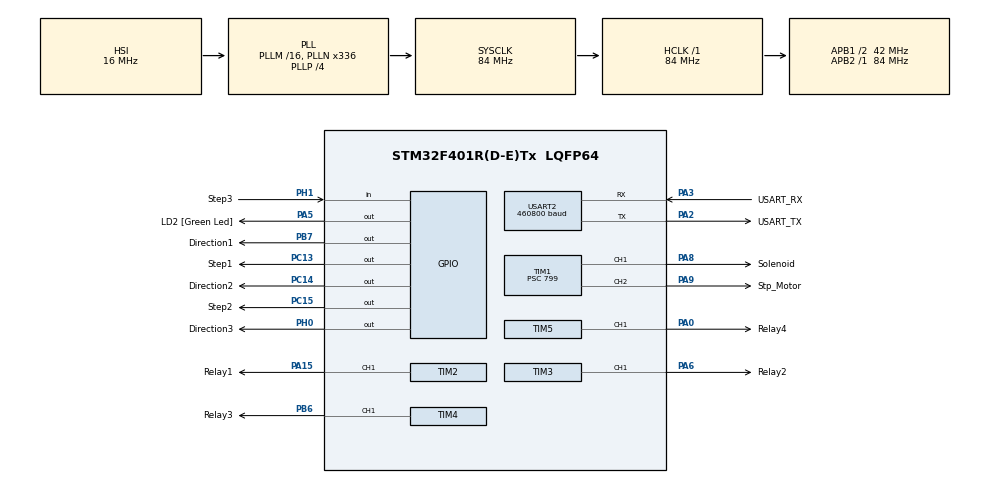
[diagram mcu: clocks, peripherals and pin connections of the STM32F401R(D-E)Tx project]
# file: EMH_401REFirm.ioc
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Mcu.Family=STM32F4
Mcu.Name=STM32F401R(D-E)Tx
Mcu.Package=LQFP64
NVIC.PriorityGroup=NVIC_PRIORITYGROUP_0
NVIC.TIM1_BRK_TIM9_IRQn=true\:0\:0\:false\:false\:true\:true\:true\:true
NVIC.TIM1_TRG_COM_TIM11_IRQn=true\:0\:0\:false\:false\:true\:true\:true\:true
NVIC.TIM1_UP_TIM10_IRQn=true\:0\:0\:false\:false\:true\:true\:true\:true
NVIC.USART2_IRQn=true\:0\:0\:false\:false\:true\:true\:true\:true
PA0-WKUP.GPIO_Label=Relay4
PA0-WKUP.Signal=S_TIM5_CH1
PA13.GPIO_Label=TMS
PA13.Mode=Serial_Wire
PA13.Signal=SYS_JTMS-SWDIO
PA14.GPIO_Label=TCK
PA14.Mode=Serial_Wire
PA14.Signal=SYS_JTCK-SWCLK
PA15.GPIO_Label=Relay1
PA15.Signal=S_TIM2_CH1_ETR
PA2.GPIO_Label=USART_TX
PA2.GPIO_Mode=GPIO_MODE_AF_PP
PA2.GPIO_PuPd=GPIO_NOPULL
PA2.GPIO_Speed=GPIO_SPEED_FREQ_LOW
PA2.Mode=Asynchronous
PA2.Signal=USART2_TX
PA3.GPIO_Label=USART_RX
PA3.GPIO_Mode=GPIO_MODE_AF_PP
PA3.GPIO_PuPd=GPIO_NOPULL
PA3.GPIO_Speed=GPIO_SPEED_FREQ_LOW
PA3.Mode=Asynchronous
PA3.Signal=USART2_RX
PA5.GPIO_Label=LD2 [Green Led]
PA5.GPIO_Mode=GPIO_MODE_OUTPUT_PP
PA5.GPIO_PuPd=GPIO_NOPULL
PA5.GPIO_Speed=GPIO_SPEED_FREQ_LOW
PA5.Signal=GPIO_Output
PA6.GPIO_Label=Relay2
PA6.Signal=S_TIM3_CH1
PA8.GPIO_Label=Solenoid
PA8.Signal=S_TIM1_CH1
PA9.GPIO_Label=Stp_Motor
PA9.Signal=S_TIM1_CH2
PB3.GPIO_Label=SWO
PB3.Signal=SYS_JTDO-SWO
PB6.GPIO_Label=Relay3
PB6.Signal=S_TIM4_CH1
PB7.GPIO_Label=Direction1
PB7.Signal=GPIO_Output
PC13-ANTI_TAMP.GPIO_Label=Step1
PC13-ANTI_TAMP.Signal=GPIO_Output
PC14-OSC32_IN.GPIO_Label=Direction2
PC14-OSC32_IN.Signal=GPIO_Output
PC15-OSC32_OUT.GPIO_Label=Step2
PC15-OSC32_OUT.Signal=GPIO_Output
PH0\ -\ OSC_IN.GPIO_Label=Direction3
PH0\ -\ OSC_IN.Signal=GPIO_Output
PH1\ -\ OSC_OUT.GPIO_Label=Step3
PH1\ -\ OSC_OUT.Signal=GPIO_Input
ProjectManager.HeapSize=0x200
ProjectManager.StackSize=0x400
ProjectManager.TargetToolchain=STM32CubeIDE
RCC.48MHZClocksFreq_Value=48000000
RCC.AHBFreq_Value=84000000
RCC.APB1CLKDivider=RCC_HCLK_DIV2
RCC.APB1Freq_Value=42000000
RCC.APB1TimFreq_Value=84000000
RCC.APB2Freq_Value=84000000
RCC.APB2TimFreq_Value=84000000
RCC.CortexFreq_Value=84000000
RCC.HCLKFreq_Value=84000000
RCC.HSE_VALUE=8000000
RCC.HSI_VALUE=16000000
RCC.LSE_VALUE=32768
RCC.PLLN=336
RCC.PLLP=RCC_PLLP_DIV4
RCC.PLLQ=7
RCC.SYSCLKFreq_VALUE=84000000
RCC.SYSCLKSource=RCC_SYSCLKSOURCE_PLLCLK
RCC.VCOOutputFreq_Value=336000000
SH.S_TIM1_CH1.0=TIM1_CH1,PWM Generation1 CH1
SH.S_TIM1_CH2.0=TIM1_CH2,PWM Generation2 CH2
SH.S_TIM2_CH1_ETR.0=TIM2_CH1,PWM Generation1 CH1
SH.S_TIM3_CH1.0=TIM3_CH1,PWM Generation1 CH1
SH.S_TIM4_CH1.0=TIM4_CH1,PWM Generation1 CH1
SH.S_TIM5_CH1.0=TIM5_CH1,PWM Generation1 CH1
TIM1.AutoReloadPreload=TIM_AUTORELOAD_PRELOAD_ENABLE
TIM1.Channel-PWM\ Generation1\ CH1=TIM_CHANNEL_1
TIM1.Channel-PWM\ Generation2\ CH2=TIM_CHANNEL_2
TIM1.Channel-PWM\ Generation3\ CH3=TIM_CHANNEL_3
TIM1.Channel-PWM\ Generation4\ CH4=TIM_CHANNEL_4
TIM1.Period=99
TIM1.Prescaler=799
TIM10.Period=99
TIM10.Prescaler=799
TIM11.AutoReloadPreload=TIM_AUTORELOAD_PRELOAD_ENABLE
TIM11.Period=99
TIM11.Prescaler=799
TIM2.AutoReloadPreload=TIM_AUTORELOAD_PRELOAD_ENABLE
TIM2.Channel-PWM\ Generation1\ CH1=TIM_CHANNEL_1
TIM2.Period=99
TIM2.Prescaler=799
TIM3.AutoReloadPreload=TIM_AUTORELOAD_PRELOAD_ENABLE
TIM3.Channel-PWM\ Generation1\ CH1=TIM_CHANNEL_1
TIM3.Period=99
TIM3.Prescaler=799
TIM4.AutoReloadPreload=TIM_AUTORELOAD_PRELOAD_ENABLE
TIM4.Channel-PWM\ Generation1\ CH1=TIM_CHANNEL_1
TIM4.Period=99
TIM4.Prescaler=799
TIM5.AutoReloadPreload=TIM_AUTORELOAD_PRELOAD_ENABLE
TIM5.Channel-PWM\ Generation1\ CH1=TIM_CHANNEL_1
TIM5.Period=99
TIM5.Prescaler=799
TIM9.AutoReloadPreload=TIM_AUTORELOAD_PRELOAD_ENABLE
TIM9.Period=99
TIM9.Prescaler=799
USART2.BaudRate=460800
USART2.VirtualMode=VM_ASYNC
VP_TIM10_VS_ClockSourceINT.Mode=Enable_Timer
VP_TIM11_VS_ClockSourceINT.Mode=Enable_Timer
VP_TIM1_VS_ClockSourceINT.Mode=Internal
VP_TIM2_VS_ClockSourceINT.Mode=Internal
VP_TIM3_VS_ClockSourceINT.Mode=Internal
VP_TIM4_VS_ClockSourceINT.Mode=Internal
VP_TIM5_VS_ClockSourceINT.Mode=Internal
VP_TIM9_VS_ClockSourceINT.Mode=Internal
board=NUCLEO-F401RE

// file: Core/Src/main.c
/* USER CODE BEGIN Header */
/**
  ******************************************************************************
  * @file           : main.c
  * @brief          : Main program body
  ******************************************************************************
  * @attention
  *
  * <h2><center>&copy; Copyright (c) 2023 STMicroelectronics.
  * All rights reserved.</center></h2>
  *
  * This software component is licensed by ST under BSD 3-Clause license,
  * the "License"; You may not use this file except in compliance with the
  * License. You may obtain a copy of the License at:
  *                        opensource.org/licenses/BSD-3-Clause
  *
  ******************************************************************************
  */
/* USER CODE END Header */
#include "main.h"

/* USER CODE BEGIN Includes */
#include <math.h>
#include <stdlib.h>
/* USER CODE END Includes */

/* USER CODE BEGIN PD */
#define TimerNum 8
#define FloppyNum 6
/* USER CODE END PD */

TIM_HandleTypeDef htim1;
TIM_HandleTypeDef htim2;
TIM_HandleTypeDef htim3;
TIM_HandleTypeDef htim4;
TIM_HandleTypeDef htim5;
TIM_HandleTypeDef htim9;
TIM_HandleTypeDef htim10;
TIM_HandleTypeDef htim11;

UART_HandleTypeDef huart2;

/* USER CODE BEGIN PV */
GPIO_PinState currentState = GPIO_PIN_RESET;
uint8_t currentPosition = 0;
uint8_t isTimer1Counting = 0;

char dataLength[8];
char data[255];
char length[10];
uint8_t uartCnt = 0;
uint64_t dataLen;
uint16_t notes[10] = {0};
uint16_t freqs[10] = {0};
double tmp[10] = {0};

const double timer_clock = 84e6;
const uint8_t timerPeriod = 100;

uint8_t arrayLen = 0;
GPIO_TypeDef* floppyPort[FloppyNum] = {};
uint32_t floppyPin[FloppyNum] = {};
TIM_HandleTypeDef times[TimerNum] = {};
/* USER CODE END PV */

void SystemClock_Config(void);
static void MX_GPIO_Init(void);
static void MX_USART2_UART_Init(void);
static void MX_TIM1_Init(void);
static void MX_TIM2_Init(void);
static void MX_TIM3_Init(void);
static void MX_TIM4_Init(void);
static void MX_TIM5_Init(void);
static void MX_TIM9_Init(void);
static void MX_TIM10_Init(void);
static void MX_TIM11_Init(void);

/* USER CODE BEGIN 0 */

//reset position of floppy
void resetStep(){
	for(uint8_t i = 0; i < FloppyNum; i+=2){
		//i : Direction, i+1 : Step
		LL_GPIO_SetOutputPin(floppyPort[i], floppyPin[i]);
		for(uint8_t j = 0; j < 79; j++){
			LL_GPIO_SetOutputPin(floppyPort[i+1], floppyPin[i+1]);
			LL_GPIO_ResetOutputPin(floppyPort[i+1], floppyPin[i+1]);
		}
		currentPosition = 0;
		LL_GPIO_ResetOutputPin(floppyPort[i], floppyPin[i]);
	}
}

//Timer interrupt (floppy control only)
void HAL_TIM_PeriodElapsedCallback(TIM_HandleTypeDef *htim)
{
	uint8_t timerIdx = 0;
	for(; timerIdx < TimerNum; timerIdx++){
		if(htim == &times[timerIdx])
			break;
	}
	if(timerIdx >= 5){
		//Update position
		//timer : 5 --> floppy : 0, 1
		//timer : 6 --> floppy : 2, 3
		//timer : 7 --> floppy : 4, 5
		if(currentState == GPIO_PIN_SET){
			if(--currentPosition <= 0){
				currentState = GPIO_PIN_RESET;
				LL_GPIO_ResetOutputPin(floppyPort[(timerIdx - 5) * 2], floppyPin[(timerIdx - 5) * 2]);
			}
		}else if(++currentPosition >= 158){
			currentState = GPIO_PIN_SET;
			LL_GPIO_SetOutputPin(floppyPort[(timerIdx - 5) * 2], floppyPin[(timerIdx - 5) * 2]);
		}
		LL_GPIO_TogglePin(floppyPort[(timerIdx - 5) * 2 + 1], floppyPin[(timerIdx - 5) * 2 + 1]);
	}
}

//Set frequency of Timer
void setTimer(uint8_t part, TIM_HandleTypeDef htim, uint32_t prescaler){

  if(prescaler < 0) prescaler = 799;

  htim.Instance = htim.Instance;
  htim.Init.Prescaler = prescaler;
  htim.Init.CounterMode = TIM_COUNTERMODE_UP;
  htim.Init.Period = timerPeriod - 1;	//because of start with 0
  htim.Init.ClockDivision = TIM_CLOCKDIVISION_DIV1;

	if(part < 5){
		TIM_OC_InitTypeDef sConfigOC = {0};	//pwm setting only
	  HAL_TIM_PWM_Init(&htim);

	  sConfigOC.OCMode = TIM_OCMODE_PWM1;
	  sConfigOC.Pulse = 50;
	  //set duty
	  sConfigOC.OCPolarity = TIM_OCPOLARITY_HIGH;
	  sConfigOC.OCFastMode = TIM_OCFAST_DISABLE;
	  sConfigOC.OCIdleState = TIM_OCIDLESTATE_RESET;
	  sConfigOC.OCNIdleState = TIM_OCNIDLESTATE_RESET;
	  HAL_TIM_PWM_ConfigChannel(&htim, &sConfigOC, TIM_CHANNEL_1);
	  HAL_TIM_PWM_ConfigChannel(&htim, &sConfigOC, TIM_CHANNEL_2);

	  //start
	  HAL_TIM_PWM_Start(&htim, TIM_CHANNEL_1);
	  HAL_TIM_PWM_Start(&htim, TIM_CHANNEL_2);	//stp_motor only

	}else{
	  HAL_TIM_Base_Init(&htim);
	  // start
	  HAL_TIM_Base_Start_IT(&htim);
	}

}

//Convert note number to frequency
float NoteConvert(uint16_t noteNum){
	int64_t tmp = noteNum - 69;
	double exp = (double)tmp / 12.0;
	double freq = 440 * pow(2.0, exp);
	return (float)freq;
}

//Serial interrupt
void HAL_UART_RxCpltCallback(UART_HandleTypeDef *huart)
{
	if(uartCnt){
		uint8_t part = 0;
		uint64_t lastIdx = 0;
		for(uint64_t i = 0; i < dataLen; i++){
			uint8_t Idx = i - lastIdx;
			data[i] &= 0x0f;
			if(Idx < 4){
				part |= data[i] << (3 - Idx);
			}else if(Idx < 5){
				if(data[i] == 0){
					lastIdx = i + 1;
					freqs[part] = 0;
					notes[part] = 0;
					if(part < TimerNum){
						if(part < 5)
							HAL_TIM_Base_Stop_IT(&times[part]);
						else{
							HAL_TIM_PWM_Stop(&times[part], TIM_CHANNEL_1);
							HAL_TIM_PWM_Stop(&times[part], TIM_CHANNEL_2);	//stp_motor only
						}
					}
					part = 0;
				}
			}else if(Idx < 13){
				notes[part] |= data[i] << (12 - Idx);
			}else{
				freqs[part] = (uint16_t)NoteConvert(notes[part]);
				if(part < TimerNum){
					//double the frequency if it is floppy
					if(part >= 5)
						freqs[part] *= 2;
					setTimer(part, times[part], (timer_clock / (freqs[part] * timerPeriod) - 1));
				}
				lastIdx = i;
				part = 0;
			}
			if(i == dataLen - 1){
				freqs[part] = (uint16_t)NoteConvert(notes[part]);
				if(part < TimerNum){
					//double the frequency if it is floppy
					if(part >= 5)
						freqs[part] *= 2;
					setTimer(part, times[part], (timer_clock / (freqs[part] * timerPeriod) - 1));
				}
				if(Idx < 5){
					lastIdx = i + 1;
					freqs[part] = 0;
					notes[part] = 0;
					if(part < TimerNum){
						if(part < 5)
							HAL_TIM_Base_Stop_IT(&times[part]);
						else{
							HAL_TIM_PWM_Stop(&times[part], TIM_CHANNEL_1);
							HAL_TIM_PWM_Stop(&times[part], TIM_CHANNEL_2);	//stp_motor only
						}
					}
					part = 0;
				}
			}
		}
		uartCnt = 0;
		HAL_UART_Receive_IT(&huart2, (uint8_t *)dataLength, 8);
		return;
	}
	dataLen = 0;
	for(uint8_t i = 0; i < 8; i++){
		dataLength[i] &= 0x0f;
		dataLen |= dataLength[i] << (7 - i);
	}
	HAL_UART_Receive_IT(&huart2, (uint8_t *)data, dataLen);
	uartCnt++;
}

/* USER CODE END 0 */

int main(void)
{

  /* MCU Configuration--------------------------------------------------------*/

  /* Reset of all peripherals, Initializes the Flash interface and the Systick. */
  HAL_Init();

  /* Configure the system clock */
  SystemClock_Config();

  /* Initialize all configured peripherals */
  MX_GPIO_Init();
  MX_USART2_UART_Init();
  MX_TIM1_Init();
  MX_TIM2_Init();
  MX_TIM3_Init();
  MX_TIM4_Init();
  MX_TIM5_Init();
  MX_TIM9_Init();
  MX_TIM10_Init();
  MX_TIM11_Init();
  /* USER CODE BEGIN 2 */

  //floppy1 --> 0 : direction, 1 : step
  //floppy2 --> 2 : direction, 3 : step
  //floppy3 --> 4 : direction, 5 : step
  floppyPort[0] = Direction1_GPIO_Port;
  floppyPort[1] = Step1_GPIO_Port;
  floppyPort[2] = Direction2_GPIO_Port;
  floppyPort[3] = Step2_GPIO_Port;
  floppyPort[4] = Direction3_GPIO_Port;
  floppyPort[5] = Step3_GPIO_Port;
  floppyPin[0] = Direction1_Pin;
  floppyPin[1] = Step1_Pin;
  floppyPin[2] = Direction2_Pin;
  floppyPin[3] = Step2_Pin;
  floppyPin[4] = Direction3_Pin;
  floppyPin[5] = Step3_Pin;

  //Melody by Solenoid and Stp_Motor
  times[0] = htim1;
  //Drum by Relay
  times[1] = htim2;
  times[2] = htim3;
  times[3] = htim4;
  times[4] = htim5;
  //Base by FloppyDrive
  times[5] = htim9;
  times[6] = htim10;
  times[7] = htim11;

  //reset floppy
  resetStep();
  //start UART interrupt
  HAL_UART_Receive_IT(&huart2, (uint8_t *)dataLength, 8);

  /* USER CODE END 2 */

  /* Infinite loop */
  while (1)
  {

  }
}

void SystemClock_Config(void)
{
  RCC_OscInitTypeDef RCC_OscInitStruct = {0};
  RCC_ClkInitTypeDef RCC_ClkInitStruct = {0};

  /** Configure the main internal regulator output voltage
  */
  __HAL_RCC_PWR_CLK_ENABLE();
  __HAL_PWR_VOLTAGESCALING_CONFIG(PWR_REGULATOR_VOLTAGE_SCALE2);

  /** Initializes the RCC Oscillators according to the specified parameters
  * in the RCC_OscInitTypeDef structure.
  */
  RCC_OscInitStruct.OscillatorType = RCC_OSCILLATORTYPE_HSI;
  RCC_OscInitStruct.HSIState = RCC_HSI_ON;
  RCC_OscInitStruct.HSICalibrationValue = RCC_HSICALIBRATION_DEFAULT;
  RCC_OscInitStruct.PLL.PLLState = RCC_PLL_ON;
  RCC_OscInitStruct.PLL.PLLSource = RCC_PLLSOURCE_HSI;
  RCC_OscInitStruct.PLL.PLLM = 16;
  RCC_OscInitStruct.PLL.PLLN = 336;
  RCC_OscInitStruct.PLL.PLLP = RCC_PLLP_DIV4;
  RCC_OscInitStruct.PLL.PLLQ = 7;
  if (HAL_RCC_OscConfig(&RCC_OscInitStruct) != HAL_OK)
  {
    Error_Handler();
  }

  /** Initializes the CPU, AHB and APB buses clocks
  */
  RCC_ClkInitStruct.ClockType = RCC_CLOCKTYPE_HCLK|RCC_CLOCKTYPE_SYSCLK
                              |RCC_CLOCKTYPE_PCLK1|RCC_CLOCKTYPE_PCLK2;
  RCC_ClkInitStruct.SYSCLKSource = RCC_SYSCLKSOURCE_PLLCLK;
  RCC_ClkInitStruct.AHBCLKDivider = RCC_SYSCLK_DIV1;
  RCC_ClkInitStruct.APB1CLKDivider = RCC_HCLK_DIV2;
  RCC_ClkInitStruct.APB2CLKDivider = RCC_HCLK_DIV1;

  if (HAL_RCC_ClockConfig(&RCC_ClkInitStruct, FLASH_LATENCY_2) != HAL_OK)
  {
    Error_Handler();
  }
}

static void MX_TIM1_Init(void)
{

  TIM_ClockConfigTypeDef sClockSourceConfig = {0};
  TIM_MasterConfigTypeDef sMasterConfig = {0};
  TIM_OC_InitTypeDef sConfigOC = {0};
  TIM_BreakDeadTimeConfigTypeDef sBreakDeadTimeConfig = {0};

  htim1.Instance = TIM1;
  htim1.Init.Prescaler = 799;
  htim1.Init.CounterMode = TIM_COUNTERMODE_UP;
  htim1.Init.Period = 99;
  htim1.Init.ClockDivision = TIM_CLOCKDIVISION_DIV1;
  htim1.Init.RepetitionCounter = 0;
  htim1.Init.AutoReloadPreload = TIM_AUTORELOAD_PRELOAD_ENABLE;
  if (HAL_TIM_Base_Init(&htim1) != HAL_OK)
  {
    Error_Handler();
  }
  sClockSourceConfig.ClockSource = TIM_CLOCKSOURCE_INTERNAL;
  if (HAL_TIM_ConfigClockSource(&htim1, &sClockSourceConfig) != HAL_OK)
  {
    Error_Handler();
  }
  if (HAL_TIM_PWM_Init(&htim1) != HAL_OK)
  {
    Error_Handler();
  }
  sMasterConfig.MasterOutputTrigger = TIM_TRGO_RESET;
  sMasterConfig.MasterSlaveMode = TIM_MASTERSLAVEMODE_DISABLE;
  if (HAL_TIMEx_MasterConfigSynchronization(&htim1, &sMasterConfig) != HAL_OK)
  {
    Error_Handler();
  }
  sConfigOC.OCMode = TIM_OCMODE_PWM1;
  sConfigOC.Pulse = 0;
  sConfigOC.OCPolarity = TIM_OCPOLARITY_HIGH;
  sConfigOC.OCNPolarity = TIM_OCNPOLARITY_HIGH;
  sConfigOC.OCFastMode = TIM_OCFAST_DISABLE;
  sConfigOC.OCIdleState = TIM_OCIDLESTATE_RESET;
  sConfigOC.OCNIdleState = TIM_OCNIDLESTATE_RESET;
  if (HAL_TIM_PWM_ConfigChannel(&htim1, &sConfigOC, TIM_CHANNEL_1) != HAL_OK)
  {
    Error_Handler();
  }
  if (HAL_TIM_PWM_ConfigChannel(&htim1, &sConfigOC, TIM_CHANNEL_2) != HAL_OK)
  {
    Error_Handler();
  }
  sBreakDeadTimeConfig.OffStateRunMode = TIM_OSSR_DISABLE;
  sBreakDeadTimeConfig.OffStateIDLEMode = TIM_OSSI_DISABLE;
  sBreakDeadTimeConfig.LockLevel = TIM_LOCKLEVEL_OFF;
  sBreakDeadTimeConfig.DeadTime = 0;
  sBreakDeadTimeConfig.BreakState = TIM_BREAK_DISABLE;
  sBreakDeadTimeConfig.BreakPolarity = TIM_BREAKPOLARITY_HIGH;
  sBreakDeadTimeConfig.AutomaticOutput = TIM_AUTOMATICOUTPUT_DISABLE;
  if (HAL_TIMEx_ConfigBreakDeadTime(&htim1, &sBreakDeadTimeConfig) != HAL_OK)
  {
    Error_Handler();
  }
  HAL_TIM_MspPostInit(&htim1);

}

static void MX_TIM2_Init(void)
{

  TIM_ClockConfigTypeDef sClockSourceConfig = {0};
  TIM_MasterConfigTypeDef sMasterConfig = {0};
  TIM_OC_InitTypeDef sConfigOC = {0};

  htim2.Instance = TIM2;
  htim2.Init.Prescaler = 799;
  htim2.Init.CounterMode = TIM_COUNTERMODE_UP;
  htim2.Init.Period = 99;
  htim2.Init.ClockDivision = TIM_CLOCKDIVISION_DIV1;
  htim2.Init.AutoReloadPreload = TIM_AUTORELOAD_PRELOAD_ENABLE;
  if (HAL_TIM_Base_Init(&htim2) != HAL_OK)
  {
    Error_Handler();
  }
  sClockSourceConfig.ClockSource = TIM_CLOCKSOURCE_INTERNAL;
  if (HAL_TIM_ConfigClockSource(&htim2, &sClockSourceConfig) != HAL_OK)
  {
    Error_Handler();
  }
  if (HAL_TIM_PWM_Init(&htim2) != HAL_OK)
  {
    Error_Handler();
  }
  sMasterConfig.MasterOutputTrigger = TIM_TRGO_RESET;
  sMasterConfig.MasterSlaveMode = TIM_MASTERSLAVEMODE_DISABLE;
  if (HAL_TIMEx_MasterConfigSynchronization(&htim2, &sMasterConfig) != HAL_OK)
  {
    Error_Handler();
  }
  sConfigOC.OCMode = TIM_OCMODE_PWM1;
  sConfigOC.Pulse = 0;
  sConfigOC.OCPolarity = TIM_OCPOLARITY_HIGH;
  sConfigOC.OCFastMode = TIM_OCFAST_DISABLE;
  if (HAL_TIM_PWM_ConfigChannel(&htim2, &sConfigOC, TIM_CHANNEL_1) != HAL_OK)
  {
    Error_Handler();
  }
  HAL_TIM_MspPostInit(&htim2);

}

static void MX_TIM3_Init(void)
{

  TIM_ClockConfigTypeDef sClockSourceConfig = {0};
  TIM_MasterConfigTypeDef sMasterConfig = {0};
  TIM_OC_InitTypeDef sConfigOC = {0};

  htim3.Instance = TIM3;
  htim3.Init.Prescaler = 799;
  htim3.Init.CounterMode = TIM_COUNTERMODE_UP;
  htim3.Init.Period = 99;
  htim3.Init.ClockDivision = TIM_CLOCKDIVISION_DIV1;
  htim3.Init.AutoReloadPreload = TIM_AUTORELOAD_PRELOAD_ENABLE;
  if (HAL_TIM_Base_Init(&htim3) != HAL_OK)
  {
    Error_Handler();
  }
  sClockSourceConfig.ClockSource = TIM_CLOCKSOURCE_INTERNAL;
  if (HAL_TIM_ConfigClockSource(&htim3, &sClockSourceConfig) != HAL_OK)
  {
    Error_Handler();
  }
  if (HAL_TIM_PWM_Init(&htim3) != HAL_OK)
  {
    Error_Handler();
  }
  sMasterConfig.MasterOutputTrigger = TIM_TRGO_RESET;
  sMasterConfig.MasterSlaveMode = TIM_MASTERSLAVEMODE_DISABLE;
  if (HAL_TIMEx_MasterConfigSynchronization(&htim3, &sMasterConfig) != HAL_OK)
  {
    Error_Handler();
  }
  sConfigOC.OCMode = TIM_OCMODE_PWM1;
  sConfigOC.Pulse = 0;
  sConfigOC.OCPolarity = TIM_OCPOLARITY_HIGH;
  sConfigOC.OCFastMode = TIM_OCFAST_DISABLE;
  if (HAL_TIM_PWM_ConfigChannel(&htim3, &sConfigOC, TIM_CHANNEL_1) != HAL_OK)
  {
    Error_Handler();
  }
  HAL_TIM_MspPostInit(&htim3);

}

static void MX_TIM4_Init(void)
{

  TIM_ClockConfigTypeDef sClockSourceConfig = {0};
  TIM_MasterConfigTypeDef sMasterConfig = {0};
  TIM_OC_InitTypeDef sConfigOC = {0};

  htim4.Instance = TIM4;
  htim4.Init.Prescaler = 799;
  htim4.Init.CounterMode = TIM_COUNTERMODE_UP;
  htim4.Init.Period = 99;
  htim4.Init.ClockDivision = TIM_CLOCKDIVISION_DIV1;
  htim4.Init.AutoReloadPreload = TIM_AUTORELOAD_PRELOAD_ENABLE;
  if (HAL_TIM_Base_Init(&htim4) != HAL_OK)
  {
    Error_Handler();
  }
  sClockSourceConfig.ClockSource = TIM_CLOCKSOURCE_INTERNAL;
  if (HAL_TIM_ConfigClockSource(&htim4, &sClockSourceConfig) != HAL_OK)
  {
    Error_Handler();
  }
  if (HAL_TIM_PWM_Init(&htim4) != HAL_OK)
  {
    Error_Handler();
  }
  sMasterConfig.MasterOutputTrigger = TIM_TRGO_RESET;
  sMasterConfig.MasterSlaveMode = TIM_MASTERSLAVEMODE_DISABLE;
  if (HAL_TIMEx_MasterConfigSynchronization(&htim4, &sMasterConfig) != HAL_OK)
  {
    Error_Handler();
  }
  sConfigOC.OCMode = TIM_OCMODE_PWM1;
  sConfigOC.Pulse = 0;
  sConfigOC.OCPolarity = TIM_OCPOLARITY_HIGH;
  sConfigOC.OCFastMode = TIM_OCFAST_DISABLE;
  if (HAL_TIM_PWM_ConfigChannel(&htim4, &sConfigOC, TIM_CHANNEL_1) != HAL_OK)
  {
    Error_Handler();
  }
  HAL_TIM_MspPostInit(&htim4);

}

static void MX_TIM5_Init(void)
{

  TIM_ClockConfigTypeDef sClockSourceConfig = {0};
  TIM_MasterConfigTypeDef sMasterConfig = {0};
  TIM_OC_InitTypeDef sConfigOC = {0};

  htim5.Instance = TIM5;
  htim5.Init.Prescaler = 799;
  htim5.Init.CounterMode = TIM_COUNTERMODE_UP;
  htim5.Init.Period = 99;
  htim5.Init.ClockDivision = TIM_CLOCKDIVISION_DIV1;
  htim5.Init.AutoReloadPreload = TIM_AUTORELOAD_PRELOAD_ENABLE;
  if (HAL_TIM_Base_Init(&htim5) != HAL_OK)
  {
    Error_Handler();
  }
  sClockSourceConfig.ClockSource = TIM_CLOCKSOURCE_INTERNAL;
  if (HAL_TIM_ConfigClockSource(&htim5, &sClockSourceConfig) != HAL_OK)
  {
    Error_Handler();
  }
  if (HAL_TIM_PWM_Init(&htim5) != HAL_OK)
  {
    Error_Handler();
  }
  sMasterConfig.MasterOutputTrigger = TIM_TRGO_RESET;
  sMasterConfig.MasterSlaveMode = TIM_MASTERSLAVEMODE_DISABLE;
  if (HAL_TIMEx_MasterConfigSynchronization(&htim5, &sMasterConfig) != HAL_OK)
  {
    Error_Handler();
  }
  sConfigOC.OCMode = TIM_OCMODE_PWM1;
  sConfigOC.Pulse = 0;
  sConfigOC.OCPolarity = TIM_OCPOLARITY_HIGH;
  sConfigOC.OCFastMode = TIM_OCFAST_DISABLE;
  if (HAL_TIM_PWM_ConfigChannel(&htim5, &sConfigOC, TIM_CHANNEL_1) != HAL_OK)
  {
    Error_Handler();
  }
  HAL_TIM_MspPostInit(&htim5);

}

static void MX_TIM9_Init(void)
{

  TIM_ClockConfigTypeDef sClockSourceConfig = {0};

  htim9.Instance = TIM9;
  htim9.Init.Prescaler = 799;
  htim9.Init.CounterMode = TIM_COUNTERMODE_UP;
  htim9.Init.Period = 99;
  htim9.Init.ClockDivision = TIM_CLOCKDIVISION_DIV1;
  htim9.Init.AutoReloadPreload = TIM_AUTORELOAD_PRELOAD_ENABLE;
  if (HAL_TIM_Base_Init(&htim9) != HAL_OK)
  {
    Error_Handler();
  }
  sClockSourceConfig.ClockSource = TIM_CLOCKSOURCE_INTERNAL;
  if (HAL_TIM_ConfigClockSource(&htim9, &sClockSourceConfig) != HAL_OK)
  {
    Error_Handler();
  }

}

static void MX_TIM10_Init(void)
{

  htim10.Instance = TIM10;
  htim10.Init.Prescaler = 799;
  htim10.Init.CounterMode = TIM_COUNTERMODE_UP;
  htim10.Init.Period = 99;
  htim10.Init.ClockDivision = TIM_CLOCKDIVISION_DIV1;
  htim10.Init.AutoReloadPreload = TIM_AUTORELOAD_PRELOAD_DISABLE;
  if (HAL_TIM_Base_Init(&htim10) != HAL_OK)
  {
    Error_Handler();
  }

}

static void MX_TIM11_Init(void)
{

  htim11.Instance = TIM11;
  htim11.Init.Prescaler = 799;
  htim11.Init.CounterMode = TIM_COUNTERMODE_UP;
  htim11.Init.Period = 99;
  htim11.Init.ClockDivision = TIM_CLOCKDIVISION_DIV1;
  htim11.Init.AutoReloadPreload = TIM_AUTORELOAD_PRELOAD_ENABLE;
  if (HAL_TIM_Base_Init(&htim11) != HAL_OK)
  {
    Error_Handler();
  }

}

static void MX_USART2_UART_Init(void)
{

  huart2.Instance = USART2;
  huart2.Init.BaudRate = 460800;
  huart2.Init.WordLength = UART_WORDLENGTH_8B;
  huart2.Init.StopBits = UART_STOPBITS_1;
  huart2.Init.Parity = UART_PARITY_NONE;
  huart2.Init.Mode = UART_MODE_TX_RX;
  huart2.Init.HwFlowCtl = UART_HWCONTROL_NONE;
  huart2.Init.OverSampling = UART_OVERSAMPLING_16;
  if (HAL_UART_Init(&huart2) != HAL_OK)
  {
    Error_Handler();
  }

}

static void MX_GPIO_Init(void)
{
  LL_GPIO_InitTypeDef GPIO_InitStruct = {0};

  /* GPIO Ports Clock Enable */
  LL_AHB1_GRP1_EnableClock(LL_AHB1_GRP1_PERIPH_GPIOC);
  LL_AHB1_GRP1_EnableClock(LL_AHB1_GRP1_PERIPH_GPIOH);
  LL_AHB1_GRP1_EnableClock(LL_AHB1_GRP1_PERIPH_GPIOA);
  LL_AHB1_GRP1_EnableClock(LL_AHB1_GRP1_PERIPH_GPIOB);

  /**/
  LL_GPIO_ResetOutputPin(GPIOC, Step1_Pin|Direction2_Pin|Step2_Pin);

  /**/
  LL_GPIO_ResetOutputPin(Direction3_GPIO_Port, Direction3_Pin);

  /**/
  LL_GPIO_ResetOutputPin(LD2_GPIO_Port, LD2_Pin);

  /**/
  LL_GPIO_ResetOutputPin(Direction1_GPIO_Port, Direction1_Pin);

  /**/
  GPIO_InitStruct.Pin = Step1_Pin|Direction2_Pin|Step2_Pin;
  GPIO_InitStruct.Mode = LL_GPIO_MODE_OUTPUT;
  GPIO_InitStruct.Speed = LL_GPIO_SPEED_FREQ_LOW;
  GPIO_InitStruct.OutputType = LL_GPIO_OUTPUT_PUSHPULL;
  GPIO_InitStruct.Pull = LL_GPIO_PULL_NO;
  LL_GPIO_Init(GPIOC, &GPIO_InitStruct);

  /**/
  GPIO_InitStruct.Pin = Direction3_Pin;
  GPIO_InitStruct.Mode = LL_GPIO_MODE_OUTPUT;
  GPIO_InitStruct.Speed = LL_GPIO_SPEED_FREQ_LOW;
  GPIO_InitStruct.OutputType = LL_GPIO_OUTPUT_PUSHPULL;
  GPIO_InitStruct.Pull = LL_GPIO_PULL_NO;
  LL_GPIO_Init(Direction3_GPIO_Port, &GPIO_InitStruct);

  /**/
  GPIO_InitStruct.Pin = Step3_Pin;
  GPIO_InitStruct.Mode = LL_GPIO_MODE_INPUT;
  GPIO_InitStruct.Pull = LL_GPIO_PULL_NO;
  LL_GPIO_Init(Step3_GPIO_Port, &GPIO_InitStruct);

  /**/
  GPIO_InitStruct.Pin = LD2_Pin;
  GPIO_InitStruct.Mode = LL_GPIO_MODE_OUTPUT;
  GPIO_InitStruct.Speed = LL_GPIO_SPEED_FREQ_LOW;
  GPIO_InitStruct.OutputType = LL_GPIO_OUTPUT_PUSHPULL;
  GPIO_InitStruct.Pull = LL_GPIO_PULL_NO;
  LL_GPIO_Init(LD2_GPIO_Port, &GPIO_InitStruct);

  /**/
  GPIO_InitStruct.Pin = Direction1_Pin;
  GPIO_InitStruct.Mode = LL_GPIO_MODE_OUTPUT;
  GPIO_InitStruct.Speed = LL_GPIO_SPEED_FREQ_LOW;
  GPIO_InitStruct.OutputType = LL_GPIO_OUTPUT_PUSHPULL;
  GPIO_InitStruct.Pull = LL_GPIO_PULL_NO;
  LL_GPIO_Init(Direction1_GPIO_Port, &GPIO_InitStruct);

}

void Error_Handler(void)
{
  __disable_irq();
  while (1)
  {
  }
}
